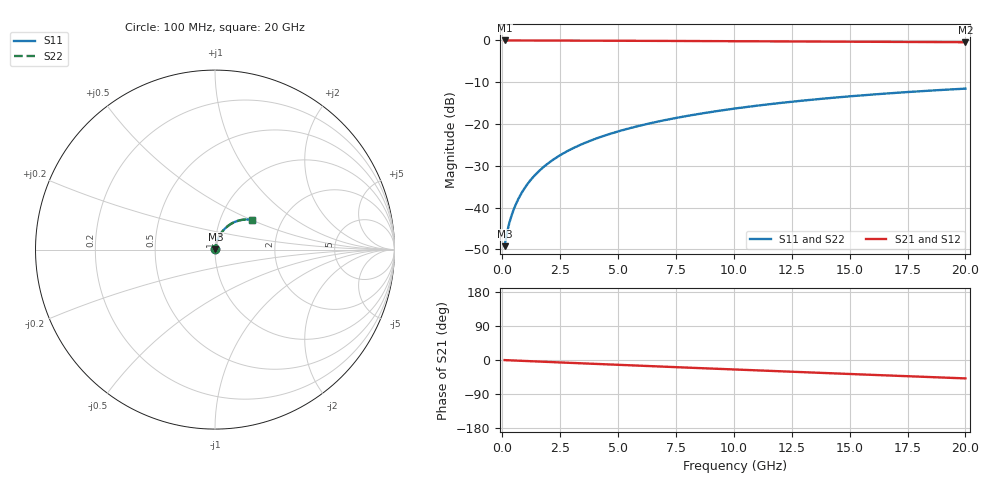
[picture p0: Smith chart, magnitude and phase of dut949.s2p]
! Touchstone file exported from HFSS 2026.1.0
!  File:  C:/ffzhzh/LocalFiles/Ansys_Project_Files/temp_train_TMRDL_949_1783158640_43440.aedt
!  Generated:  05:52:04 PM Jul  4, 2026
!  Design:  TMRDL
!  Project:  temp_train_TMRDL_949_1783158640_43440
! Variables:
!  h_bsmrdl = 2um
!  h_ox = 20um
!  h_rdl = 5um
!  h_sub = 80um
!  h_tmrdl = 4.77um
!  h_tsv = 80um
!  h_via = 3um
!  l_bsmrdl = 300um
!  l_sub = 1216.52um
!  l_tmrdl = 816.52um
!  m_sub = 200um
!  pitch = 38.18um
!  r_tsv = 6um
!  s_tmrdl = 10um
!  w_bsmrdl = 18um
!  w_sub = 500um
!  w_tmrdl = 24.01um
!  x_tsv_center1 = 828.525um
!  x_tsv_center2 = 1146.525um
!  x_tsv_center3 = 1987.055um
!  x_tsv_center4 = 2305.055um
!  x_tsv_center5 = 3145.585um
!  x_tsv_center6 = 3463.585um
# GHz S MA R 50.000000
! Terminal data exported
! Port[1] = TM_RDL1_1_T1
! Port[2] = TM_RDL1_1_T2
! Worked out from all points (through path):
!   200 points, 100 MHz to 20 GHz, reference 50 ohm
!   highest |S21| = -0.02 dB at 100 MHz (marker M1); lowest = -0.4 dB at 20 GHz (marker M2)
!   group delay of S21, straight-line fit = 6.73 ps
!   lowest |S11| = -49.2 dB at 100 MHz (marker M3), VSWR 1.01, Z = 50.3 + j0.208 ohm
!   |S11| at or under -10 dB: start of sweep to end of sweep
!   |S22| runs from -49.2 to -11.5 dB; largest |S21 - S12| = 2.3e-14
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0.1  0.003464 36.6  0.9972 -0.3  0.9972 -0.3  0.003464 36.6
! Gamma 0 0 0 0
! Port Impedance 50 0 50 0
0.2  0.004977 51.7  0.9969 -0.5  0.9969 -0.5  0.004977 51.7
0.3  0.006516 59.1  0.9967 -0.8  0.9967 -0.8  0.006516 59.1
0.4  0.008056 63.8  0.9966 -1.1  0.9966 -1.1  0.008056 63.8
0.5  0.009615 67.2  0.9964 -1.3  0.9964 -1.3  0.009615 67.2
0.6  0.0112 69.7  0.9963 -1.6  0.9963 -1.6  0.0112 69.7
0.8  0.01442 72.9  0.9962 -2.1  0.9962 -2.1  0.01442 72.9
1.1  0.01934 75.5  0.9959 -2.9  0.9959 -2.9  0.01934 75.5
1.3  0.02265 76.3  0.9957 -3.4  0.9957 -3.4  0.02265 76.3
1.6  0.02761 77.0  0.9954 -4.1  0.9954 -4.1  0.02761 77.0
2.1  0.03585 77.1  0.9947 -5.4  0.9947 -5.4  0.03585 77.1
2.7  0.04562 76.5  0.9937 -6.9  0.9937 -6.9  0.04562 76.5
3.5  0.05838 75.1  0.9923 -9.0  0.9923 -9.0  0.05838 75.1
4.2  0.06931 73.7  0.9909 -10.7  0.9909 -10.7  0.06931 73.7
5  0.08153 72.0  0.9892 -12.7  0.9892 -12.7  0.08153 72.0
5.9  0.09496 70.0  0.9872 -15.0  0.9872 -15.0  0.09496 70.0
6.8  0.1081 68.0  0.9851 -17.2  0.9851 -17.2  0.1081 68.0
8.3  0.1294 64.7  0.9815 -20.9  0.9815 -20.9  0.1294 64.7
10.1  0.1538 60.7  0.977 -25.2  0.977 -25.2  0.1538 60.7
13.4  0.1956 53.3  0.9682 -33.1  0.9682 -33.1  0.1955 53.3
16.7  0.2327 45.9  0.959 -40.9  0.959 -40.9  0.2327 45.9
20  0.2649 38.5  0.95 -48.6  0.95 -48.6  0.2649 38.5
